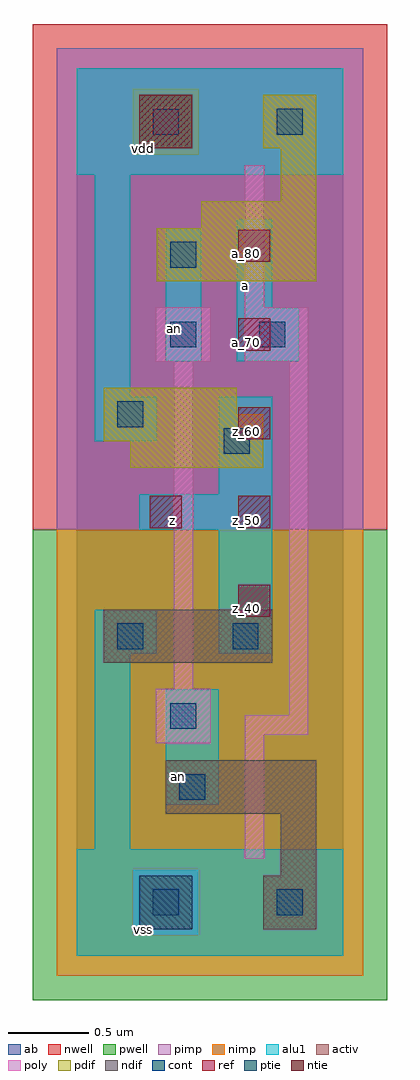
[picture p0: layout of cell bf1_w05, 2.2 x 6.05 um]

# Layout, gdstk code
import gdstk
lib = gdstk.Library(unit=1e-6, precision=2.5e-09)
def R(c, l, rs):  # rectangles x0, y0, x1, y1
    for r in rs: c.add(gdstk.rectangle(r[:2], r[2:], *l))
def A(c, l, x, y, w, h, nx, ny, dx, dy):  # array of equal rectangles
    R(c, l, [(x+i*dx, y+j*dy, x+i*dx+w, y+j*dy+h) for i in range(nx) for j in range(ny)])
ndif = (3, 0)
pdif = (4, 0)
ntie = (5, 0)
ptie = (6, 0)
ref = (24, 0)
cont = (25, 0)
pwell = (41, 0)
nwell = (42, 0)
activ = (43, 0)
pimp = (44, 0)
nimp = (45, 0)
poly = (46, 0)
alu1 = (49, 0)
ab = (63, 0)

bf1_w05 = lib.new_cell('bf1_w05')
R(bf1_w05, ndif, [(1.155,0.165,1.485,0.495), (1.265,0.495,1.485,0.88), (0.55,0.88,1.485,1.21), (0.165,1.815,1.21,2.145)])
R(bf1_w05, pdif, [(0.33,3.025,1.155,3.19), (0.165,3.19,1.155,3.355), (0.165,3.355,0.99,3.52), (0.495,4.18,1.485,4.51), (0.77,4.51,1.485,4.675), (1.265,4.675,1.485,5.005), (1.155,5.005,1.485,5.335)])
R(bf1_w05, ntie, [(0.385,5.005,0.715,5.335)])
R(bf1_w05, ptie, [(0.385,0.165,0.715,0.495)])
A(bf1_w05, ref, 1, 2.1, 0.2, 0.2, 1, 5, 0, 0.55)
R(bf1_w05, ref, [(0.45,2.65,0.65,2.85)])
R(bf1_w05, cont, [(0.47,0.25,0.63,0.41), (1.24,0.25,1.4,0.41), (0.635,0.965,0.795,1.125), (0.58,1.405,0.74,1.565), (0.25,1.9,0.41,2.06), (0.965,1.9,1.125,2.06), (0.91,3.11,1.07,3.27), (0.25,3.275,0.41,3.435), (0.58,3.77,0.74,3.93), (1.13,3.77,1.29,3.93), (0.58,4.265,0.74,4.425), (0.47,5.09,0.63,5.25), (1.24,5.09,1.4,5.25)])
R(bf1_w05, pwell, [(-0.275,-0.275,1.925,2.64)])
R(bf1_w05, nwell, [(-0.275,2.64,1.925,5.775)])
R(bf1_w05, activ, [(0.385,0.165,0.715,0.495), (1.155,0.165,1.485,0.495), (1.265,0.495,1.485,0.88), (0.55,0.88,1.485,1.21), (0.165,1.815,1.21,2.145), (0.33,3.025,1.155,3.19), (0.165,3.19,1.155,3.355), (0.165,3.355,0.99,3.52), (0.495,4.18,1.485,4.51), (0.77,4.51,1.485,4.675), (1.265,4.675,1.485,5.005), (0.385,5.005,0.715,5.335), (1.155,5.005,1.485,5.335)])
R(bf1_w05, pimp, [(0.345,0.125,0.755,0.535), (-0.125,2.64,1.775,4.965), (-0.125,4.965,0.345,5.375), (0.755,4.965,1.775,5.375), (-0.125,5.375,1.775,5.625)])
R(bf1_w05, nimp, [(-0.125,-0.125,1.775,0.125), (-0.125,0.125,0.345,0.535), (0.755,0.125,1.775,0.535), (-0.125,0.535,1.775,2.64), (0.345,4.965,0.755,5.375)])
R(bf1_w05, poly, [(1.04,0.6,1.16,1.37), (0.49,1.315,0.83,1.655), (1.04,1.37,1.435,1.49), (1.315,1.49,1.435,3.68), (0.6,1.655,0.72,3.68), (0.49,3.68,0.83,4.02), (1.04,3.68,1.435,4.02), (1.04,4.02,1.16,4.9)])
R(bf1_w05, alu1, [(0,0,1.65,0.66), (0.11,0.66,0.33,1.87), (0.55,0.935,0.88,1.65), (0.11,1.87,0.495,2.145), (0.88,1.87,1.21,2.64), (0.385,2.64,1.21,2.86), (0.88,2.86,1.21,3.465), (0.11,3.19,0.495,3.465), (0.11,3.465,0.33,4.84), (0.55,3.685,0.77,4.51), (0.99,3.685,1.375,4.015), (0.99,4.015,1.21,4.565), (0,4.84,1.65,5.5)])
R(bf1_w05, ab, [(0,0,1.65,5.5)])
bf1_w05.add(gdstk.Label('vss', (0.4125,0.165), layer=49, texttype=0))
bf1_w05.add(gdstk.Label('an', (0.6325,1.1125), layer=49, texttype=0))
bf1_w05.add(gdstk.Label('z', (0.59,2.695), layer=49, texttype=0))
bf1_w05.add(gdstk.Label('a', (1.045,4.1525), layer=49, texttype=0))
bf1_w05.add(gdstk.Label('an', (0.605,3.89), layer=49, texttype=0))
bf1_w05.add(gdstk.Label('vdd', (0.4125,5.005), layer=49, texttype=0))
bf1_w05.add(gdstk.Label('z_50', (0.5,2.7), layer=24, texttype=0))
bf1_w05.add(gdstk.Label('a_70', (1.05,3.8), layer=24, texttype=0))
bf1_w05.add(gdstk.Label('a_80', (1.05,4.35), layer=24, texttype=0))
bf1_w05.add(gdstk.Label('z_60', (1.05,3.25), layer=24, texttype=0))
bf1_w05.add(gdstk.Label('z_40', (1.05,2.15), layer=24, texttype=0))
bf1_w05.add(gdstk.Label('z_50', (1.05,2.7), layer=24, texttype=0))

lib.write_gds('bf1_w05.gds')
